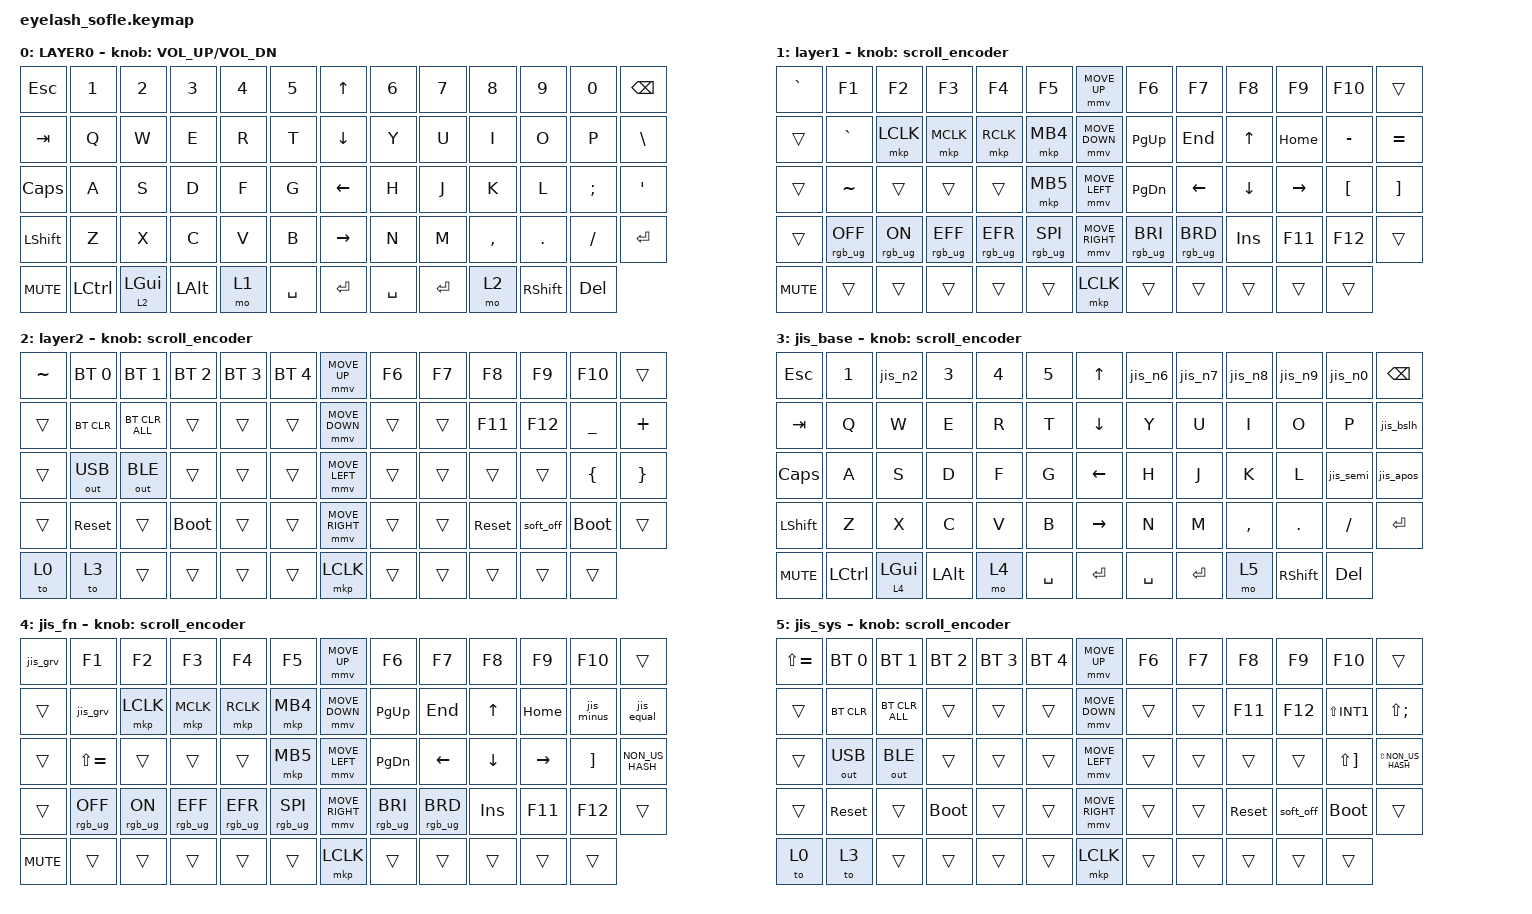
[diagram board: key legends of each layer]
#define ZMK_POINTING_DEFAULT_MOVE_VAL 1200  // 600
#define ZMK_POINTING_DEFAULT_SCRL_VAL 25   // 10

#include <input/processors.dtsi>
#include <zephyr/dt-bindings/input/input-event-codes.h>
#include <behaviors.dtsi>
#include <dt-bindings/zmk/bt.h>
#include <dt-bindings/zmk/keys.h>
#include <dt-bindings/zmk/outputs.h>
#include <dt-bindings/zmk/pointing.h>
#include <dt-bindings/zmk/rgb.h>

&mmv_input_listener { input-processors = <&zip_xy_scaler 2 1>; };

&msc_input_listener { input-processors = <&zip_scroll_scaler 2 1>; };

&msc {
    acceleration-exponent = <1>;      // 0
    time-to-max-speed-ms = <100>;       // 300
    delay-ms = <0>;                   // 0
};

&mmv {
    time-to-max-speed-ms = <500>;
    acceleration-exponent = <1>;
    trigger-period-ms = <16>;
};

&soft_off { hold-time-ms = <2000>; };

/ {
    scroll_encoder: scroll_encoder {
        compatible = "zmk,behavior-sensor-rotate";
        #sensor-binding-cells = <0>;
        bindings = <&msc SCRL_DOWN>, <&msc SCRL_UP>;

        tap-ms = <100>;
    };

    behaviors {
        jis_n2: jis_n2 {
            compatible = "zmk,behavior-mod-morph";
            #binding-cells = <0>;
            bindings = <&kp N2>, <&kp LEFT_BRACKET>;
            mods = <(MOD_LSFT|MOD_RSFT)>;
        };

        jis_n6: jis_n6 {
            compatible = "zmk,behavior-mod-morph";
            #binding-cells = <0>;
            bindings = <&kp N6>, <&kp EQUAL>;
            mods = <(MOD_LSFT|MOD_RSFT)>;
        };

        jis_n7: jis_n7 {
            compatible = "zmk,behavior-mod-morph";
            #binding-cells = <0>;
            bindings = <&kp N7>, <&kp LS(N6)>;
            mods = <(MOD_LSFT|MOD_RSFT)>;
        };

        jis_n8: jis_n8 {
            compatible = "zmk,behavior-mod-morph";
            #binding-cells = <0>;
            bindings = <&kp N8>, <&kp LS(APOS)>;
            mods = <(MOD_LSFT|MOD_RSFT)>;
        };

        jis_n9: jis_n9 {
            compatible = "zmk,behavior-mod-morph";
            #binding-cells = <0>;
            bindings = <&kp N9>, <&kp LS(N8)>;
            mods = <(MOD_LSFT|MOD_RSFT)>;
        };

        jis_n0: jis_n0 {
            compatible = "zmk,behavior-mod-morph";
            #binding-cells = <0>;
            bindings = <&kp N0>, <&kp LS(N9)>;
            mods = <(MOD_LSFT|MOD_RSFT)>;
        };

        jis_semi: jis_semi {
            compatible = "zmk,behavior-mod-morph";
            #binding-cells = <0>;
            bindings = <&kp SEMI>, <&kp APOS>;
            mods = <(MOD_LSFT|MOD_RSFT)>;
        };

        jis_apos: jis_apos {
            compatible = "zmk,behavior-mod-morph";
            #binding-cells = <0>;
            bindings = <&kp LS(N7)>, <&kp LS(N2)>;
            mods = <(MOD_LSFT|MOD_RSFT)>;
        };

        jis_bslh: jis_bslh {
            compatible = "zmk,behavior-mod-morph";
            #binding-cells = <0>;
            bindings = <&kp INT1>, <&kp LS(INT3)>;
            mods = <(MOD_LSFT|MOD_RSFT)>;
        };

        jis_minus: jis_minus {
            compatible = "zmk,behavior-mod-morph";
            #binding-cells = <0>;
            bindings = <&kp MINUS>, <&kp LS(INT1)>;
            mods = <(MOD_LSFT|MOD_RSFT)>;
        };

        jis_equal: jis_equal {
            compatible = "zmk,behavior-mod-morph";
            #binding-cells = <0>;
            bindings = <&kp LS(MINUS)>, <&kp LS(SEMI)>;
            mods = <(MOD_LSFT|MOD_RSFT)>;
        };

        jis_grv: jis_grv {
            compatible = "zmk,behavior-mod-morph";
            #binding-cells = <0>;
            bindings = <&kp LS(LEFT_BRACKET)>, <&kp LS(EQUAL)>;
            mods = <(MOD_LSFT|MOD_RSFT)>;
        };
    };

    combos {
        compatible = "zmk,combos";

        softoff {
            bindings = <&soft_off>;
            key-positions = <14 28 40>;
        };
    };

    macros {
        SHIFT_MCLK: SHIFT_MCLK {
            compatible = "zmk,behavior-macro";
            #binding-cells = <0>;
            bindings =
                <&macro_press>,
                <&kp LEFT_SHIFT>,
                <&macro_press>,
                <&mkp MB3>,
                <&macro_pause_for_release>,
                <&macro_release>,
                <&kp LEFT_SHIFT &mkp MB3>;

            label = "SHIFT_MCLK";
        };
    };

    keymap {
        compatible = "zmk,keymap";

        layer0 {
            bindings = <
&kp ESC     &kp N1     &kp N2        &kp N3        &kp N4  &kp N5       &kp UP_ARROW     &kp N6     &kp N7     &kp N8     &kp N9           &kp N0      &kp BACKSPACE
&kp TAB     &kp Q      &kp W         &kp E         &kp R   &kp T        &kp DOWN_ARROW   &kp Y      &kp U      &kp I      &kp O            &kp P       &kp BSLH
&kp CAPS    &kp A      &kp S         &kp D         &kp F   &kp G        &kp LEFT_ARROW   &kp H      &kp J      &kp K      &kp L            &kp SEMI    &kp APOS
&kp LSHFT   &kp Z      &kp X         &kp C         &kp V   &kp B        &kp RIGHT_ARROW  &kp N      &kp M      &kp COMMA  &kp DOT          &kp FSLH    &kp ENTER
&kp C_MUTE  &kp LCTRL  &lt 2 LEFT_GUI  &kp LEFT_ALT  &mo 1   &kp SPACE    &kp ENTER        &kp SPACE  &kp ENTER  &mo 2      &kp RIGHT_SHIFT  &kp DELETE
            >;

            sensor-bindings = <&inc_dec_kp C_VOLUME_UP C_VOL_DN>;
            display-name = "LAYER0";
        };

        layer_1 {
            bindings = <
&kp GRAVE   &kp F1           &kp F2          &kp F3           &kp F4           &kp F5             &mmv MOVE_UP     &kp F6           &kp F7           &kp F8      &kp F9     &kp F10           &trans
&trans      &kp GRAVE        &mkp LCLK       &mkp MCLK        &mkp RCLK        &mkp MB4           &mmv MOVE_DOWN   &kp PG_UP        &kp END          &kp UP      &kp HOME   &kp MINUS         &kp EQUAL
&trans      &kp TILDE        &trans          &trans           &trans           &mkp MB5           &mmv MOVE_LEFT   &kp PG_DN        &kp LEFT         &kp DOWN    &kp RIGHT  &kp LEFT_BRACKET  &kp RIGHT_BRACKET
&trans      &rgb_ug RGB_OFF  &rgb_ug RGB_ON  &rgb_ug RGB_EFF  &rgb_ug RGB_EFR  &rgb_ug RGB_SPI    &mmv MOVE_RIGHT  &rgb_ug RGB_BRI  &rgb_ug RGB_BRD  &kp INSERT  &kp F11    &kp F12           &trans
&kp C_MUTE  &trans           &trans          &trans           &trans           &trans             &mkp LCLK        &trans           &trans           &trans      &trans     &trans
            >;

            display-name = "layer1";
            sensor-bindings = <&scroll_encoder>;
        };

        layer_2 {
            bindings = <
&kp TILDE  &bt BT_SEL 0  &bt BT_SEL 1    &bt BT_SEL 2  &bt BT_SEL 3  &bt BT_SEL 4    &mmv MOVE_UP     &kp F6  &kp F7  &kp F8      &kp F9     &kp F10      &trans
&trans     &bt BT_CLR    &bt BT_CLR_ALL  &trans        &trans        &trans          &mmv MOVE_DOWN   &trans  &trans  &kp F11     &kp F12    &kp UNDER    &kp PLUS
&trans     &out OUT_USB  &out OUT_BLE    &trans        &trans        &trans          &mmv MOVE_LEFT   &trans  &trans  &trans      &trans     &kp LBRC     &kp RBRC
&trans     &sys_reset    &trans          &bootloader   &trans        &trans          &mmv MOVE_RIGHT  &trans  &trans  &sys_reset  &soft_off  &bootloader  &trans
&to 0      &to 3         &trans          &trans        &trans        &trans          &mkp LCLK        &trans  &trans  &trans      &trans     &trans
            >;

            display-name = "layer2";
            sensor-bindings = <&scroll_encoder>;
        };

        layer_3 {
            bindings = <
&kp ESC     &kp N1     &jis_n2     &kp N3        &kp N4  &kp N5       &kp UP_ARROW     &jis_n6  &jis_n7  &jis_n8  &jis_n9       &jis_n0       &kp BACKSPACE
&kp TAB     &kp Q      &kp W       &kp E         &kp R   &kp T        &kp DOWN_ARROW   &kp Y    &kp U    &kp I    &kp O         &kp P         &jis_bslh
&kp CAPS    &kp A      &kp S       &kp D         &kp F   &kp G        &kp LEFT_ARROW   &kp H    &kp J    &kp K    &kp L         &jis_semi     &jis_apos
&kp LSHFT   &kp Z      &kp X       &kp C         &kp V   &kp B        &kp RIGHT_ARROW  &kp N    &kp M    &kp COMMA  &kp DOT       &kp FSLH      &kp ENTER
&kp C_MUTE  &kp LCTRL  &lt 4 LEFT_GUI  &kp LEFT_ALT  &mo 4   &kp SPACE    &kp ENTER        &kp SPACE  &kp ENTER  &mo 5      &kp RIGHT_SHIFT  &kp DELETE
            >;

            display-name = "jis_base";
            sensor-bindings = <&scroll_encoder>;
        };

        layer_4 {
            bindings = <
&jis_grv   &kp F1           &kp F2          &kp F3           &kp F4           &kp F5             &mmv MOVE_UP     &kp F6           &kp F7           &kp F8      &kp F9     &kp F10          &trans
&trans     &jis_grv         &mkp LCLK       &mkp MCLK        &mkp RCLK        &mkp MB4           &mmv MOVE_DOWN   &kp PG_UP        &kp END          &kp UP      &kp HOME   &jis_minus       &jis_equal
&trans     &kp LS(EQUAL)    &trans          &trans           &trans           &mkp MB5           &mmv MOVE_LEFT   &kp PG_DN        &kp LEFT         &kp DOWN    &kp RIGHT  &kp RIGHT_BRACKET  &kp NON_US_HASH
&trans     &rgb_ug RGB_OFF  &rgb_ug RGB_ON  &rgb_ug RGB_EFF  &rgb_ug RGB_EFR  &rgb_ug RGB_SPI    &mmv MOVE_RIGHT  &rgb_ug RGB_BRI  &rgb_ug RGB_BRD  &kp INSERT  &kp F11    &kp F12          &trans
&kp C_MUTE  &trans           &trans          &trans           &trans           &trans             &mkp LCLK        &trans           &trans           &trans      &trans     &trans
            >;

            display-name = "jis_fn";
            sensor-bindings = <&scroll_encoder>;
        };

        layer_5 {
            bindings = <
&kp LS(EQUAL)  &bt BT_SEL 0  &bt BT_SEL 1    &bt BT_SEL 2  &bt BT_SEL 3  &bt BT_SEL 4    &mmv MOVE_UP     &kp F6  &kp F7  &kp F8      &kp F9     &kp F10      &trans
&trans         &bt BT_CLR    &bt BT_CLR_ALL  &trans        &trans        &trans          &mmv MOVE_DOWN   &trans  &trans  &kp F11     &kp F12    &kp LS(INT1)  &kp LS(SEMI)
&trans         &out OUT_USB  &out OUT_BLE    &trans        &trans        &trans          &mmv MOVE_LEFT   &trans  &trans  &trans      &trans     &kp LS(RIGHT_BRACKET)  &kp LS(NON_US_HASH)
&trans         &sys_reset    &trans          &bootloader   &trans        &trans          &mmv MOVE_RIGHT  &trans  &trans  &sys_reset  &soft_off  &bootloader  &trans
&to 0          &to 3         &trans          &trans        &trans        &trans          &mkp LCLK        &trans  &trans  &trans      &trans     &trans
            >;

            display-name = "jis_sys";
            sensor-bindings = <&scroll_encoder>;
        };
    };
};


